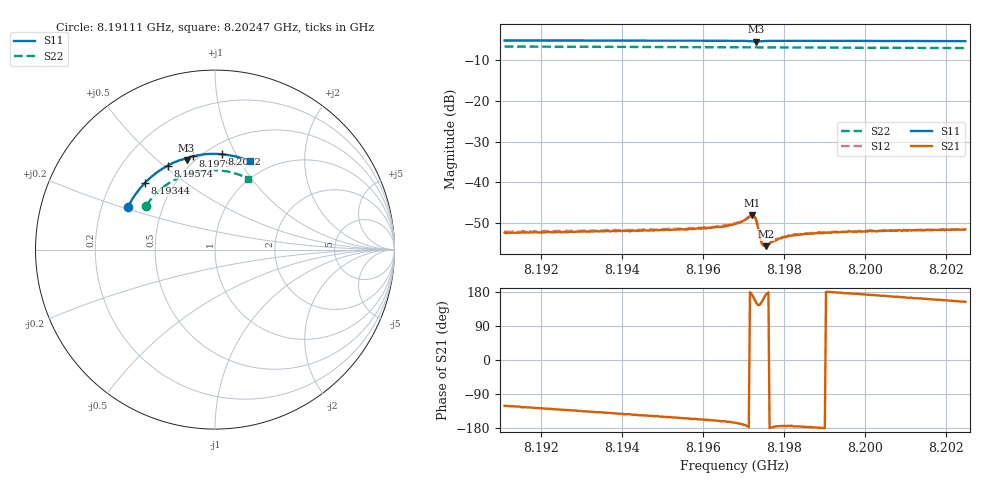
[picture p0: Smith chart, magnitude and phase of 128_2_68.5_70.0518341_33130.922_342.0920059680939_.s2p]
#  HZ  S  RI  R  50.00
! Rohde & Schwarz Vector Network Analyzer
! Rohde-Schwarz,ZNB20-2Port,1311601062101988,3.16
! Created: UTC 3/20/2024, 5:09:24 PM
! freq[Hz]  re:S11  im:S11  re:S21  im:S21  re:S12  im:S12  re:S22  im:S22
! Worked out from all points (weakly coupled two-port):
!   401 points, 8.19111 GHz to 8.20247 GHz, reference 50 ohm
!   highest |S21| = -48.04 dB at 8.19722 GHz (marker M1); lowest = -55.5 dB at 8.19756 GHz (marker M2)
!   lowest |S11| = -5.6 dB at 8.1973 GHz (marker M3), VSWR 3.18, Z = 22.9 + j31.3 ohm
!   |S11| at or under -10 dB: nowhere
!   |S22| runs from -7.2 to -6.8 dB; largest |S21 - S12| = 0.00021
!   S11 on the Smith chart (normalised r, x): 8.19111 GHz: 0.31, +0.21; 8.19344 GHz: 0.34, +0.36; 8.19574 GHz: 0.39, +0.52; 8.19793 GHz: 0.47, +0.68; 8.2002 GHz: 0.59, +0.88; 8.20247 GHz: 0.80, +1.10
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8.191113e9  -0.4857 0.2364  -0.00125 -0.00211  -0.00136 -0.00213  -0.3832 0.2455
8.193015e9  -0.4121 0.3476  -0.00176 -0.00179  -0.00187 -0.00178  -0.3144 0.3257
8.193441e9  -0.3921 0.3698  -0.00187 -0.00169  -0.00201 -0.00168  -0.2963 0.3413
8.194918e9  -0.313 0.4372  -0.00225 -0.00134  -0.0024 -0.00129  -0.2282 0.388
8.195741e9  -0.2635 0.4681  -0.00247 -0.00111  -0.00255 -0.0011  -0.1865 0.4079
8.196451e9  -0.2177 0.49  -0.00273 -0.000905  -0.00286 -0.000823  -0.1491 0.422
8.196792e9  -0.1941 0.499  -0.00301 -0.000774  -0.00312 -0.000668  -0.1307 0.4274
8.196962e9  -0.1814 0.5026  -0.00327 -0.000603  -0.00337 -0.000508  -0.1214 0.4299
8.197218e9  -0.1603 0.5015  -0.00392 0.000587  -0.00394 0.000782  -0.1074 0.433
8.197275e9  -0.1584 0.4984  -0.00359 0.00131  -0.00362 0.00148  -0.1042 0.4335
8.197303e9  -0.1587 0.4972  -0.0032 0.00158  -0.00323 0.00175  -0.1027 0.4336
8.197331e9  -0.1596 0.4972  -0.00275 0.00167  -0.00277 0.00183  -0.1013 0.4342
8.197445e9  -0.159 0.5044  -0.00164 0.000843  -0.00164 0.000964  -0.095 0.4356
8.197502e9  -0.1555 0.508  -0.00161 0.000484  -0.00163 0.000544  -0.092 0.4362
8.197558e9  -0.1513 0.5107  -0.00166 0.000193  -0.00167 0.00028  -0.0889 0.4367
8.197814e9  -0.1321 0.518  -0.00197 -0.000175  -0.00207 -0.000115  -0.0745 0.4391
8.197928e9  -0.1238 0.5203  -0.00207 -0.000218  -0.00213 -0.000127  -0.0682 0.4398
8.198212e9  -0.1035 0.5247  -0.00225 -0.000224  -0.00227 -0.000129  -0.052 0.4416
8.198694e9  -0.069 0.5301  -0.00236 -0.000103  -0.00242 1.25e-05  -0.0249 0.443
8.200199e9  0.0376 0.5316  -0.00254 0.000386  -0.00253 0.000475  0.0606 0.4367
8.200597e9  0.0655 0.5283  -0.00254 0.000533  -0.00254 0.000639  0.0827 0.4322
8.202471e9  0.1931 0.4936  -0.0024 0.00119  -0.00235 0.00127  0.1835 0.3959
